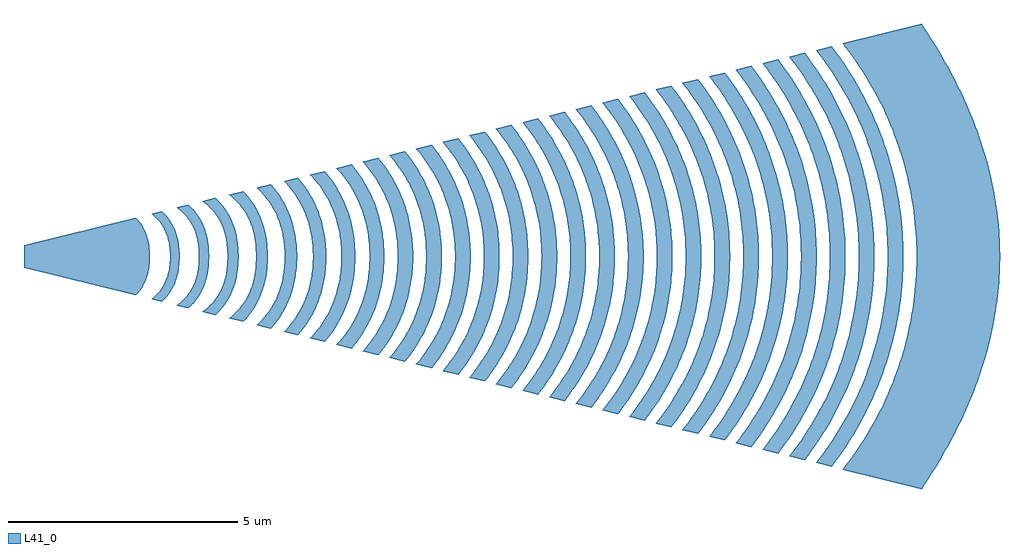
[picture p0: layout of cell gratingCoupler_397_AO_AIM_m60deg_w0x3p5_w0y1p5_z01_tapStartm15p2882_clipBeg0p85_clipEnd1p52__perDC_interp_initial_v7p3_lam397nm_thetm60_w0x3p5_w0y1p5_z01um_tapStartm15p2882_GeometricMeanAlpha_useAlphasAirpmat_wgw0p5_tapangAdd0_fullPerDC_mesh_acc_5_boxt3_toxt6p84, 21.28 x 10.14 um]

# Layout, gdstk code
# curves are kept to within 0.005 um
import gdstk
lib = gdstk.Library(unit=1e-6, precision=1e-09)
def P(c, l, *ps):  # polygons
    for p in ps: c.add(gdstk.Polygon(p, *l))
L41_0 = (41, 0)

gratingcoupler_397_ao_ai = lib.new_cell('gratingCoupler_397_AO_AIM_m60deg_w0x3p5_w0y1p5_z01_tapStartm15p2882_clipBeg0p85_clipEnd1p52__perDC_interp_initial_v7p3_lam397nm_thetm60_w0x3p5_w0y1p5_z01um_tapStartm15p2882_GeometricMeanAlpha_useAlphasAirpmat_wgw0p5_tapangAdd0_fullPerDC_mesh_acc_5_boxt3_toxt6p84')
P(gratingcoupler_397_ao_ai, L41_0, [(2.433,-0.849),(0,-0.25),(0,0.25),(2.433,0.849),(2.488,0.79),(2.563,0.689),(2.652,0.521),(2.688,0.42),(2.72,0.286),(2.744,0.05),(2.74,-0.118),(2.726,-0.252),(2.677,-0.454),(2.638,-0.555),(2.585,-0.655),(2.515,-0.756)],
  [(3.002,-0.989),(2.78,-0.935),(2.928,-0.79),(2.981,-0.723),(3.045,-0.622),(3.093,-0.521),(3.129,-0.42),(3.161,-0.286),(3.179,-0.151),(3.185,-0.017),(3.179,0.151),(3.147,0.353),(3.106,0.487),(3.045,0.622),(2.981,0.723),(2.866,0.857),(2.78,0.935),(3.002,0.989),(3.091,0.9),(3.152,0.826),(3.225,0.716),(3.281,0.606),(3.322,0.496),(3.359,0.349),(3.384,0.165),(3.39,0.055),(3.384,-0.165),(3.371,-0.275),(3.333,-0.459),(3.296,-0.569),(3.245,-0.679),(3.178,-0.789),(3.091,-0.9)],
  [(3.578,-1.131),(3.328,-1.069),(3.402,-1.01),(3.514,-0.9),(3.575,-0.826),(3.648,-0.716),(3.704,-0.606),(3.745,-0.496),(3.782,-0.349),(3.799,-0.239),(3.813,-0.055),(3.807,0.165),(3.774,0.386),(3.719,0.569),(3.648,0.716),(3.575,0.826),(3.442,0.973),(3.328,1.069),(3.578,1.131),(3.696,1.015),(3.763,0.936),(3.844,0.816),(3.923,0.657),(3.976,0.498),(4.009,0.338),(4.024,0.219),(4.034,0.02),(4.03,-0.139),(4.009,-0.338),(3.976,-0.498),(3.923,-0.657),(3.844,-0.816),(3.763,-0.936),(3.696,-1.015)],
  [(4.168,-1.276),(3.887,-1.207),(4.022,-1.095),(4.1,-1.015),(4.196,-0.896),(4.271,-0.776),(4.327,-0.657),(4.369,-0.538),(4.406,-0.378),(4.424,-0.259),(4.438,-0.06),(4.432,0.179),(4.419,0.299),(4.39,0.458),(4.342,0.617),(4.271,0.776),(4.167,0.936),(4.022,1.095),(3.887,1.207),(4.168,1.276),(4.267,1.18),(4.405,1.008),(4.484,0.879),(4.545,0.751),(4.591,0.622),(4.642,0.408),(4.669,0.193),(4.676,0.021),(4.669,-0.193),(4.642,-0.408),(4.591,-0.622),(4.545,-0.751),(4.484,-0.879),(4.405,-1.008),(4.267,-1.18)],
  [(4.777,-1.426),(4.467,-1.35),(4.566,-1.266),(4.691,-1.137),(4.791,-1.008),(4.869,-0.879),(4.93,-0.751),(4.989,-0.579),(5.028,-0.408),(5.051,-0.236),(5.061,-0.064),(5.051,0.236),(5.02,0.45),(4.989,0.579),(4.947,0.708),(4.869,0.879),(4.76,1.051),(4.61,1.223),(4.467,1.35),(4.777,1.426),(4.918,1.264),(5.015,1.126),(5.094,0.988),(5.177,0.805),(5.237,0.621),(5.278,0.437),(5.303,0.253),(5.315,0.023),(5.307,-0.207),(5.278,-0.437),(5.237,-0.621),(5.177,-0.805),(5.094,-0.988),(5.015,-1.126),(4.918,-1.264)],
  [(5.382,-1.575),(5.071,-1.499),(5.209,-1.356),(5.319,-1.218),(5.437,-1.034),(5.506,-0.897),(5.561,-0.759),(5.604,-0.621),(5.645,-0.437),(5.67,-0.253),(5.682,-0.069),(5.682,0.069),(5.67,0.253),(5.636,0.483),(5.604,0.621),(5.561,0.759),(5.461,0.988),(5.352,1.172),(5.209,1.356),(5.071,1.499),(5.382,1.575),(5.525,1.398),(5.622,1.25),(5.728,1.054),(5.81,0.858),(5.87,0.662),(5.913,0.466),(5.944,0.221),(5.953,0.025),(5.944,-0.221),(5.921,-0.417),(5.87,-0.662),(5.81,-0.858),(5.728,-1.054),(5.622,-1.25),(5.525,-1.398)],
  [(5.965,-1.719),(5.667,-1.645),(5.798,-1.496),(5.908,-1.349),(6.053,-1.103),(6.14,-0.907),(6.206,-0.711),(6.262,-0.466),(6.293,-0.221),(6.301,-0.025),(6.293,0.221),(6.262,0.466),(6.206,0.711),(6.14,0.907),(6.053,1.103),(5.908,1.349),(5.798,1.496),(5.667,1.645),(5.965,1.719),(6.113,1.537),(6.219,1.38),(6.333,1.172),(6.422,0.964),(6.49,0.755),(6.538,0.547),(6.569,0.339),(6.588,0.026),(6.579,-0.234),(6.547,-0.495),(6.49,-0.755),(6.441,-0.912),(6.358,-1.12),(6.25,-1.328),(6.113,-1.537)],
  [(6.553,-1.863),(6.234,-1.785),(6.404,-1.589),(6.516,-1.432),(6.638,-1.224),(6.733,-1.016),(6.82,-0.755),(6.878,-0.495),(6.905,-0.286),(6.918,-0.026),(6.913,0.182),(6.878,0.495),(6.834,0.703),(6.753,0.964),(6.664,1.172),(6.549,1.38),(6.404,1.589),(6.234,1.785),(6.553,1.863),(6.698,1.681),(6.843,1.461),(6.932,1.296),(7.029,1.075),(7.103,0.855),(7.168,0.579),(7.207,0.303),(7.221,0.028),(7.207,-0.303),(7.178,-0.524),(7.133,-0.744),(7.049,-1.02),(6.932,-1.296),(6.843,-1.461),(6.698,-1.681)],
  [(7.141,-2.008),(6.81,-1.927),(6.969,-1.737),(7.087,-1.571),(7.217,-1.351),(7.32,-1.13),(7.416,-0.855),(7.47,-0.634),(7.514,-0.358),(7.533,-0.083),(7.528,0.193),(7.491,0.524),(7.431,0.799),(7.362,1.02),(7.245,1.296),(7.122,1.516),(6.969,1.737),(6.81,1.927),(7.141,2.008),(7.319,1.774),(7.465,1.541),(7.582,1.309),(7.674,1.076),(7.76,0.785),(7.807,0.553),(7.842,0.262),(7.852,0.029),(7.842,-0.262),(7.807,-0.553),(7.76,-0.785),(7.674,-1.076),(7.582,-1.309),(7.465,-1.541),(7.319,-1.774)],
  [(7.722,-2.151),(7.385,-2.068),(7.574,-1.832),(7.691,-1.658),(7.822,-1.425),(7.949,-1.134),(8.041,-0.843),(8.092,-0.611),(8.132,-0.32),(8.147,-0.029),(8.137,0.262),(8.102,0.553),(8.041,0.843),(7.949,1.134),(7.822,1.425),(7.691,1.658),(7.574,1.832),(7.385,2.068),(7.722,2.151),(7.935,1.866),(8.083,1.621),(8.202,1.377),(8.298,1.132),(8.371,0.887),(8.424,0.642),(8.465,0.336),(8.481,0.031),(8.47,-0.275),(8.444,-0.52),(8.386,-0.826),(8.298,-1.132),(8.202,-1.377),(8.083,-1.621),(7.935,-1.866)],
  [(8.303,-2.295),(7.961,-2.21),(8.138,-1.988),(8.301,-1.744),(8.435,-1.499),(8.565,-1.193),(8.66,-0.887),(8.713,-0.642),(8.754,-0.336),(8.77,-0.031),(8.754,0.336),(8.713,0.642),(8.66,0.887),(8.565,1.193),(8.435,1.499),(8.301,1.744),(8.138,1.988),(7.961,2.21),(8.303,2.295),(8.462,2.086),(8.627,1.83),(8.793,1.509),(8.897,1.252),(8.978,0.995),(9.05,0.674),(9.093,0.353),(9.109,0.032),(9.098,-0.289),(9.061,-0.61),(8.978,-0.995),(8.897,-1.252),(8.793,-1.509),(8.627,-1.83),(8.462,-2.086)],
  [(8.886,-2.438),(8.543,-2.354),(8.751,-2.086),(8.916,-1.83),(9.082,-1.509),(9.186,-1.252),(9.283,-0.931),(9.339,-0.674),(9.382,-0.353),(9.398,-0.032),(9.387,0.289),(9.35,0.61),(9.283,0.931),(9.186,1.252),(9.082,1.509),(8.916,1.83),(8.751,2.086),(8.543,2.354),(8.886,2.438),(9.074,2.184),(9.241,1.916),(9.38,1.647),(9.516,1.311),(9.618,0.975),(9.675,0.706),(9.72,0.37),(9.737,0.034),(9.726,-0.302),(9.706,-0.504),(9.675,-0.706),(9.618,-0.975),(9.516,-1.311),(9.38,-1.647),(9.241,-1.916),(9.074,-2.184)],
  [(9.466,-2.581),(9.127,-2.497),(9.316,-2.252),(9.491,-1.983),(9.636,-1.714),(9.781,-1.378),(9.889,-1.042),(9.952,-0.773),(9.986,-0.571),(10.009,-0.37),(10.026,-0.034),(10.015,0.302),(9.995,0.504),(9.964,0.706),(9.889,1.042),(9.805,1.311),(9.699,1.58),(9.53,1.916),(9.316,2.252),(9.127,2.497),(9.466,2.581),(9.684,2.282),(9.855,2.002),(9.997,1.721),(10.112,1.44),(10.224,1.089),(10.301,0.737),(10.348,0.386),(10.365,0.035),(10.348,-0.386),(10.313,-0.667),(10.242,-1.018),(10.137,-1.369),(9.997,-1.721),(9.855,-2.002),(9.684,-2.282)],
  [(10.046,-2.724),(9.708,-2.64),(9.925,-2.353),(10.104,-2.072),(10.286,-1.721),(10.401,-1.44),(10.513,-1.089),(10.59,-0.737),(10.637,-0.386),(10.654,-0.035),(10.637,0.386),(10.59,0.737),(10.513,1.089),(10.401,1.44),(10.286,1.721),(10.104,2.072),(9.925,2.353),(9.708,2.64),(10.046,2.724),(10.245,2.454),(10.428,2.161),(10.581,1.868),(10.733,1.502),(10.847,1.135),(10.927,0.769),(10.975,0.403),(10.993,0.037),(10.981,-0.33),(10.939,-0.696),(10.866,-1.062),(10.759,-1.428),(10.614,-1.795),(10.469,-2.088),(10.294,-2.381)],
  [(10.627,-2.867),(10.287,-2.783),(10.534,-2.454),(10.717,-2.161),(10.903,-1.795),(11.022,-1.502),(11.136,-1.135),(11.216,-0.769),(11.264,-0.403),(11.282,-0.037),(11.27,0.33),(11.249,0.549),(11.216,0.769),(11.136,1.135),(11.022,1.502),(10.903,1.795),(10.717,2.161),(10.534,2.454),(10.287,2.783),(10.627,2.867),(10.853,2.555),(11.039,2.25),(11.196,1.945),(11.353,1.563),(11.428,1.335),(11.49,1.106),(11.553,0.801),(11.603,0.419),(11.621,0.038),(11.609,-0.343),(11.566,-0.724),(11.49,-1.106),(11.428,-1.335),(11.353,-1.563),(11.196,-1.945),(11.039,-2.25),(10.853,-2.555)],
  [(11.206,-3.009),(10.868,-2.926),(11.09,-2.631),(11.285,-2.326),(11.485,-1.945),(11.642,-1.563),(11.717,-1.335),(11.779,-1.106),(11.842,-0.801),(11.892,-0.419),(11.91,-0.038),(11.906,0.191),(11.892,0.419),(11.842,0.801),(11.779,1.106),(11.717,1.335),(11.642,1.563),(11.485,1.945),(11.285,2.326),(11.09,2.631),(10.868,2.926),(11.206,3.009),(11.46,2.656),(11.651,2.339),(11.811,2.022),(11.973,1.625),(12.094,1.229),(12.179,0.832),(12.214,0.595),(12.237,0.357),(12.249,0.04),(12.237,-0.357),(12.214,-0.595),(12.179,-0.832),(12.094,-1.229),(11.973,-1.625),(11.811,-2.022),(11.651,-2.339),(11.46,-2.656)],
  [(11.785,-3.152),(11.448,-3.069),(11.696,-2.735),(11.94,-2.339),(12.1,-2.022),(12.262,-1.625),(12.383,-1.229),(12.468,-0.832),(12.503,-0.595),(12.526,-0.357),(12.538,-0.04),(12.526,0.357),(12.503,0.595),(12.468,0.832),(12.383,1.229),(12.262,1.625),(12.1,2.022),(11.94,2.339),(11.696,2.735),(11.448,3.069),(11.785,3.152),(12.013,2.839),(12.119,2.675),(12.263,2.428),(12.428,2.099),(12.593,1.687),(12.718,1.276),(12.791,0.946),(12.819,0.782),(12.858,0.453),(12.878,0.041),(12.865,-0.37),(12.819,-0.782),(12.775,-1.029),(12.718,-1.276),(12.593,-1.687),(12.428,-2.099),(12.263,-2.428),(12.119,-2.675),(12.013,-2.839)],
  [(12.368,-3.295),(12.027,-3.212),(12.187,-3.004),(12.302,-2.839),(12.506,-2.51),(12.679,-2.181),(12.853,-1.769),(12.985,-1.358),(13.08,-0.946),(13.108,-0.782),(13.147,-0.453),(13.167,-0.041),(13.154,0.37),(13.108,0.782),(13.064,1.029),(13.007,1.276),(12.882,1.687),(12.717,2.099),(12.552,2.428),(12.459,2.592),(12.302,2.839),(12.187,3.004),(12.027,3.212),(12.368,3.295),(12.562,3.029),(12.675,2.858),(12.875,2.517),(13.043,2.175),(13.15,1.92),(13.212,1.749),(13.269,1.578),(13.341,1.322),(13.431,0.896),(13.486,0.469),(13.506,0.043),(13.502,-0.213),(13.486,-0.469),(13.445,-0.81),(13.362,-1.237),(13.241,-1.664),(13.15,-1.92),(13.08,-2.09),(13.004,-2.261),(12.875,-2.517),(12.675,-2.858),(12.562,-3.029)],
  [(12.948,-3.438),(12.61,-3.355),(12.909,-2.943),(13.117,-2.602),(13.252,-2.346),(13.332,-2.175),(13.502,-1.749),(13.63,-1.322),(13.72,-0.896),(13.775,-0.469),(13.795,-0.043),(13.782,0.384),(13.757,0.64),(13.72,0.896),(13.63,1.322),(13.502,1.749),(13.332,2.175),(13.252,2.346),(13.117,2.602),(12.909,2.943),(12.61,3.355),(12.948,3.438),(13.226,3.047),(13.439,2.694),(13.659,2.252),(13.734,2.076),(13.833,1.811),(13.965,1.369),(14.042,1.016),(14.084,0.751),(14.114,0.486),(14.134,0.044),(14.13,-0.221),(14.114,-0.486),(14.057,-0.927),(13.965,-1.369),(13.833,-1.811),(13.734,-2.076),(13.659,-2.252),(13.439,-2.694),(13.226,-3.047)],
  [(13.527,-3.581),(13.191,-3.498),(13.456,-3.136),(13.571,-2.959),(13.728,-2.694),(13.908,-2.341),(14.091,-1.899),(14.231,-1.457),(14.295,-1.192),(14.347,-0.927),(14.403,-0.486),(14.423,-0.044),(14.41,0.397),(14.384,0.662),(14.347,0.927),(14.254,1.369),(14.122,1.811),(14.023,2.076),(13.948,2.252),(13.866,2.429),(13.728,2.694),(13.571,2.959),(13.456,3.136),(13.191,3.498),(13.527,3.581),(13.644,3.426),(13.832,3.151),(14.05,2.786),(14.276,2.329),(14.353,2.147),(14.454,1.873),(14.589,1.416),(14.684,0.959),(14.742,0.502),(14.763,0.046),(14.749,-0.411),(14.699,-0.868),(14.651,-1.142),(14.589,-1.416),(14.454,-1.873),(14.353,-2.147),(14.276,-2.329),(14.05,-2.786),(13.832,-3.151),(13.644,-3.426)],
  [(14.11,-3.724),(13.77,-3.641),(14.061,-3.243),(14.288,-2.877),(14.388,-2.695),(14.524,-2.421),(14.642,-2.147),(14.711,-1.964),(14.774,-1.781),(14.855,-1.507),(14.957,-1.05),(15.001,-0.776),(15.031,-0.502),(15.052,-0.046),(15.038,0.411),(14.988,0.868),(14.94,1.142),(14.878,1.416),(14.743,1.873),(14.642,2.147),(14.565,2.329),(14.481,2.512),(14.339,2.786),(14.179,3.06),(14.061,3.243),(13.77,3.641),(14.11,3.724),(14.377,3.35),(14.608,2.973),(14.849,2.501),(15.041,2.029),(15.188,1.557),(15.294,1.085),(15.338,0.802),(15.37,0.519),(15.392,0.047),(15.387,-0.236),(15.37,-0.519),(15.31,-0.991),(15.276,-1.18),(15.212,-1.463),(15.162,-1.651),(15.073,-1.935),(15.006,-2.123),(14.891,-2.406),(14.66,-2.878),(14.497,-3.161),(14.377,-3.35)],
  [(14.693,-3.868),(14.353,-3.784),(14.536,-3.539),(14.666,-3.35),(14.897,-2.973),(15.048,-2.689),(15.138,-2.501),(15.259,-2.218),(15.33,-2.029),(15.477,-1.557),(15.583,-1.085),(15.628,-0.802),(15.659,-0.519),(15.681,-0.047),(15.676,0.236),(15.659,0.519),(15.599,0.991),(15.502,1.463),(15.363,1.935),(15.259,2.218),(15.18,2.406),(15.048,2.689),(14.949,2.878),(14.843,3.067),(14.666,3.35),(14.536,3.539),(14.353,3.784),(14.693,3.868),(14.918,3.555),(15.045,3.36),(15.218,3.068),(15.323,2.873),(15.464,2.581),(15.548,2.386),(15.66,2.094),(15.726,1.899),(15.811,1.607),(15.86,1.412),(15.92,1.12),(15.989,0.633),(16.011,0.341),(16.02,0.049),(16.016,-0.243),(15.998,-0.536),(15.937,-1.023),(15.836,-1.509),(15.785,-1.704),(15.694,-1.996),(15.625,-2.191),(15.507,-2.483),(15.323,-2.873),(15.218,-3.068),(15.045,-3.36),(14.851,-3.652)],
  [(15.274,-4.011),(14.936,-3.928),(15.207,-3.555),(15.334,-3.36),(15.507,-3.068),(15.612,-2.873),(15.753,-2.581),(15.838,-2.386),(15.95,-2.094),(16.046,-1.802),(16.101,-1.607),(16.171,-1.315),(16.209,-1.12),(16.278,-0.633),(16.301,-0.341),(16.31,-0.049),(16.295,0.438),(16.267,0.73),(16.226,1.023),(16.171,1.315),(16.101,1.607),(16.046,1.802),(15.95,2.094),(15.838,2.386),(15.753,2.581),(15.612,2.873),(15.507,3.068),(15.334,3.36),(15.207,3.555),(14.936,3.928),(15.274,4.011),(15.453,3.765),(15.588,3.564),(15.713,3.364),(15.884,3.062),(16.081,2.661),(16.167,2.46),(16.282,2.159),(16.38,1.857),(16.436,1.657),(16.508,1.355),(16.547,1.155),(16.617,0.653),(16.64,0.351),(16.649,0.05),(16.648,-0.151),(16.634,-0.452),(16.606,-0.753),(16.564,-1.054),(16.508,-1.355),(16.436,-1.657),(16.38,-1.857),(16.282,-2.159),(16.167,-2.46),(16.081,-2.661),(15.884,-3.062),(15.713,-3.364),(15.588,-3.564),(15.453,-3.765)],
  [(15.856,-4.154),(15.517,-4.071),(15.743,-3.765),(15.878,-3.564),(16.119,-3.163),(16.226,-2.962),(16.37,-2.661),(16.497,-2.36),(16.571,-2.159),(16.669,-1.857),(16.751,-1.556),(16.854,-1.054),(16.916,-0.552),(16.939,-0.05),(16.934,0.251),(16.916,0.552),(16.854,1.054),(16.751,1.556),(16.606,2.058),(16.497,2.36),(16.37,2.661),(16.276,2.862),(16.119,3.163),(15.878,3.564),(15.743,3.765),(15.517,4.071),(15.856,4.154),(16.056,3.878),(16.194,3.672),(16.44,3.258),(16.55,3.051),(16.697,2.741),(16.785,2.534),(16.903,2.224),(17.003,1.913),(17.06,1.707),(17.111,1.5),(17.174,1.189),(17.222,0.879),(17.255,0.569),(17.279,0.052),(17.274,-0.259),(17.255,-0.569),(17.222,-0.879),(17.174,-1.189),(17.111,-1.5),(17.06,-1.707),(17.003,-1.913),(16.903,-2.224),(16.785,-2.534),(16.697,-2.741),(16.55,-3.051),(16.44,-3.258),(16.194,-3.672),(16.056,-3.878)],
  [(16.438,-4.298),(16.099,-4.214),(16.273,-3.982),(16.416,-3.775),(16.611,-3.465),(16.73,-3.258),(16.839,-3.051),(16.987,-2.741),(17.116,-2.431),(17.192,-2.224),(17.261,-2.017),(17.35,-1.707),(17.423,-1.396),(17.481,-1.086),(17.545,-0.569),(17.568,-0.052),(17.567,0.155),(17.545,0.569),(17.481,1.086),(17.423,1.396),(17.35,1.707),(17.261,2.017),(17.192,2.224),(17.116,2.431),(16.987,2.741),(16.839,3.051),(16.73,3.258),(16.611,3.465),(16.416,3.775),(16.273,3.982),(16.099,4.214),(16.438,4.298),(16.659,3.992),(16.8,3.779),(17.051,3.353),(17.216,3.034),(17.314,2.821),(17.446,2.502),(17.524,2.289),(17.594,2.076),(17.685,1.756),(17.76,1.437),(17.801,1.224),(17.85,0.905),(17.884,0.585),(17.908,0.053),(17.903,-0.266),(17.884,-0.585),(17.819,-1.118),(17.76,-1.437),(17.712,-1.65),(17.626,-1.969),(17.524,-2.289),(17.446,-2.502),(17.314,-2.821),(17.216,-3.034),(17.051,-3.353),(16.8,-3.779),(16.659,-3.992)],
  [(17.021,-4.441),(16.682,-4.358),(16.798,-4.205),(17.02,-3.885),(17.22,-3.566),(17.341,-3.353),(17.453,-3.14),(17.604,-2.821),(17.694,-2.608),(17.813,-2.289),(17.916,-1.969),(17.974,-1.756),(18.026,-1.543),(18.09,-1.224),(18.125,-1.011),(18.164,-0.692),(18.188,-0.373),(18.198,-0.053),(18.182,0.479),(18.152,0.798),(18.108,1.118),(18.071,1.331),(18.001,1.65),(17.916,1.969),(17.813,2.289),(17.694,2.608),(17.604,2.821),(17.453,3.14),(17.341,3.353),(17.22,3.566),(17.02,3.885),(16.798,4.205),(16.682,4.358),(17.021,4.441),(17.187,4.215),(17.406,3.886),(17.603,3.558),(17.722,3.339),(17.831,3.12),(17.978,2.792),(18.145,2.354),(18.217,2.135),(18.31,1.806),(18.386,1.478),(18.447,1.149),(18.492,0.821),(18.513,0.602),(18.533,0.274),(18.538,0.055),(18.533,-0.274),(18.513,-0.602),(18.492,-0.821),(18.447,-1.149),(18.386,-1.478),(18.31,-1.806),(18.217,-2.135),(18.145,-2.354),(17.978,-2.792),(17.831,-3.12),(17.722,-3.339),(17.603,-3.558),(17.406,-3.886),(17.187,-4.215)],
  [(17.605,-4.585),(17.265,-4.501),(17.477,-4.215),(17.626,-3.996),(17.83,-3.667),(17.953,-3.448),(18.121,-3.12),(18.221,-2.901),(18.356,-2.573),(18.435,-2.354),(18.507,-2.135),(18.6,-1.806),(18.676,-1.478),(18.718,-1.259),(18.768,-0.931),(18.803,-0.602),(18.818,-0.383),(18.827,-0.055),(18.822,0.274),(18.803,0.602),(18.768,0.931),(18.736,1.149),(18.676,1.478),(18.6,1.806),(18.507,2.135),(18.435,2.354),(18.356,2.573),(18.221,2.901),(18.121,3.12),(17.953,3.448),(17.83,3.667),(17.626,3.996),(17.477,4.215),(17.265,4.501),(17.605,4.585),(17.79,4.331),(17.942,4.106),(18.15,3.769),(18.276,3.544),(18.447,3.206),(18.549,2.981),(18.687,2.644),(18.768,2.419),(18.841,2.194),(18.935,1.856),(18.989,1.631),(19.056,1.294),(19.092,1.069),(19.132,0.731),(19.157,0.394),(19.168,0.056),(19.163,-0.281),(19.151,-0.506),(19.12,-0.844),(19.075,-1.181),(19.036,-1.406),(18.963,-1.744),(18.874,-2.081),(18.768,-2.419),(18.687,-2.644),(18.549,-2.981),(18.447,-3.206),(18.276,-3.544),(18.15,-3.769),(17.942,-4.106),(17.79,-4.331)],
  [(19.571,-5.069),(17.849,-4.645),(18,-4.444),(18.232,-4.106),(18.44,-3.769),(18.566,-3.544),(18.789,-3.094),(18.933,-2.756),(19.018,-2.531),(19.095,-2.306),(19.196,-1.969),(19.279,-1.631),(19.346,-1.294),(19.382,-1.069),(19.422,-0.731),(19.447,-0.394),(19.457,-0.056),(19.456,0.169),(19.441,0.506),(19.41,0.844),(19.365,1.181),(19.303,1.519),(19.253,1.744),(19.164,2.081),(19.057,2.419),(18.933,2.756),(18.839,2.981),(18.737,3.206),(18.566,3.544),(18.44,3.769),(18.232,4.106),(18,4.444),(17.849,4.645),(19.571,5.069),(19.835,4.66),(20.019,4.353),(20.135,4.148),(20.349,3.738),(20.495,3.431),(20.629,3.124),(20.75,2.816),(20.858,2.509),(20.954,2.202),(21.038,1.895),(21.109,1.587),(21.167,1.28),(21.213,0.973),(21.247,0.666),(21.268,0.358),(21.276,0.051),(21.272,-0.256),(21.255,-0.563),(21.226,-0.871),(21.184,-1.178),(21.13,-1.485),(21.063,-1.792),(20.984,-2.099),(20.892,-2.407),(20.75,-2.816),(20.629,-3.124),(20.495,-3.431),(20.349,-3.738),(20.135,-4.148),(20.019,-4.353),(19.835,-4.66)])

lib.write_gds('gratingCoupler_397_AO_AIM_m60deg_w0x3p5_w0y1p5_z01_tapStartm15p2882_clipBeg0p85_clipEnd1p52__perDC_interp_initial_v7p3_lam397nm_thetm60_w0x3p5_w0y1p5_z01um_tapStartm15p2882_GeometricMeanAlpha_useAlphasAirpmat_wgw0p5_tapangAdd0_fullPerDC_mesh_acc_5_boxt3_toxt6p84.gds')
